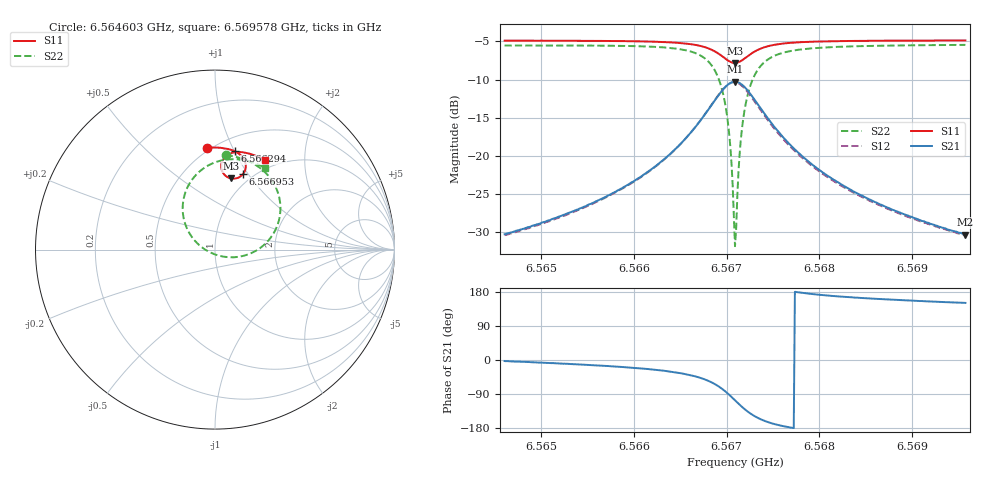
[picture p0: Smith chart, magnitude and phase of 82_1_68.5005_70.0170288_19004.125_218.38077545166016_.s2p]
#  HZ  S  RI  R  50.00
! Rohde & Schwarz Vector Network Analyzer
! Rohde-Schwarz,ZNB20-2Port,1311601062101988,3.16
! Created: UTC 3/20/2024, 4:52:11 PM
! freq[Hz]  re:S11  im:S11  re:S21  im:S21  re:S12  im:S12  re:S22  im:S22
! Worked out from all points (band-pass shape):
!   401 points, 6.564603 GHz to 6.569578 GHz, reference 50 ohm
!   highest |S21| = -10.28 dB at 6.56709 GHz (marker M1); lowest = -30.3 dB at 6.569578 GHz (marker M2)
!   |S21| within 3 dB of the highest: 6.56684 GHz to 6.567339 GHz (499.1 kHz wide, 0.0076 % of centre)
!   lowest |S11| = -7.8 dB at 6.56709 GHz (marker M3), VSWR 2.37, Z = 42.1 + j40.1 ohm
!   |S11| at or under -10 dB: nowhere
!   |S22| runs from -31.8 to -5.4 dB; largest |S21 - S12| = 0.015
!   S11 on the Smith chart (normalised r, x): 6.564603 GHz: 0.48, +0.81; 6.566294 GHz: 0.63, +1.00; 6.566953 GHz: 0.90, +0.95; 6.569578 GHz: 0.88, +1.30
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6.5646027e9  -0.0429 0.5678  0.0307 -0.00147  0.0302 -0.00207  0.0599 0.5257
6.565436e9  0.0268 0.5673  0.0448 -0.00957  0.0442 -0.0102  0.1433 0.5093
6.5662693e9  0.1084 0.5488  0.0797 -0.0404  0.0784 -0.0413  0.2642 0.4442
6.5662942e9  0.1111 0.5475  0.0814 -0.0425  0.0802 -0.0435  0.269 0.44
6.5665678e9  0.145 0.5249  0.1046 -0.0811  0.103 -0.0829  0.33 0.3638
6.5667544e9  0.1673 0.4908  0.1169 -0.141  0.114 -0.1441  0.3639 0.248
6.5668663e9  0.1709 0.4555  0.1048 -0.203  0.0993 -0.2072  0.3455 0.1296
6.5669534e9  0.1565 0.4214  0.0625 -0.2618  0.0529 -0.2651  0.2668 0.0207
6.5670156e9  0.1308 0.4013  0.00452 -0.2938  -0.00854 -0.2939  0.1585 -0.0347
6.5670404e9  0.1172 0.3968  -0.0245 -0.2996  -0.0385 -0.2977  0.1052 -0.0428
6.5670778e9  0.0949 0.3957  -0.0709 -0.2976  -0.0848 -0.2921  0.0222 -0.034
6.5670902e9  0.0875 0.397  -0.0861 -0.294  -0.0998 -0.2871  -0.00454 -0.0252
6.5671026e9  0.0802 0.3992  -0.101 -0.2888  -0.1141 -0.2807  -0.0302 -0.014
6.5671151e9  0.0734 0.402  -0.1152 -0.2822  -0.1276 -0.2731  -0.0543 -0.000288
6.5671399e9  0.0608 0.4099  -0.141 -0.2654  -0.1515 -0.2542  -0.0969 0.0335
6.5671773e9  0.0463 0.4254  -0.1707 -0.2335  -0.1782 -0.2206  -0.1442 0.0942
6.567227e9  0.0362 0.4492  -0.1933 -0.1864  -0.1966 -0.1734  -0.1754 0.1795
6.5672892e9  0.0358 0.4768  -0.1993 -0.1327  -0.1988 -0.1214  -0.1763 0.2739
6.5675131e9  0.0735 0.5294  -0.1527 -0.0299  -0.1493 -0.0252  -0.0721 0.4465
6.5679235e9  0.1365 0.5437  -0.0873 0.00907  -0.0853 0.0104  0.0717 0.5024
6.5687568e9  0.2179 0.5259  -0.0426 0.0158  -0.0416 0.0162  0.2039 0.4872
6.5695777e9  0.2806 0.4974  -0.0267 0.015  -0.026 0.0152  0.2809 0.4545
